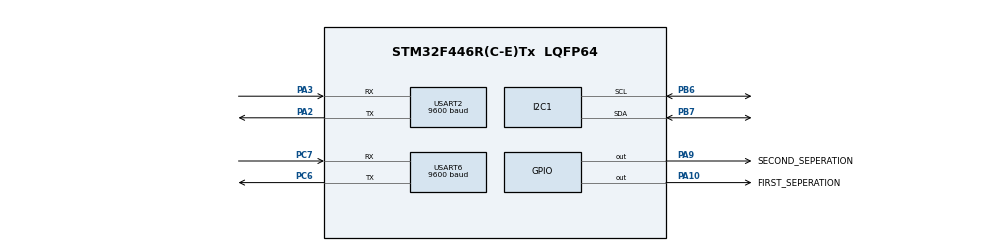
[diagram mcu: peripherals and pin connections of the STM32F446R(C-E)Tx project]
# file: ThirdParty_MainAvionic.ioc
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FREERTOS.BinarySemaphores01=BinSemSep,Dynamic,NULL
FREERTOS.Mutexes01=SimpleMutex,Dynamic,NULL
FREERTOS.Tasks01=defaultTask,-3,128,StartDefaultTask,Default,NULL,Dynamic,NULL,NULL;SeperationTask,1,128,StartSeperationTask,Default,NULL,Dynamic,NULL,NULL;SepSensorTask,0,128,StartSepSensorTask,Default,NULL,Dynamic,NULL,NULL;GPSTask,-1,128,StartGPSTask,Default,NULL,Dynamic,NULL,NULL;CommTask,-2,128,StartCommTask,Default,NULL,Dynamic,NULL,NULL
FREERTOS.configUSE_NEWLIB_REENTRANT=1
Mcu.Family=STM32F4
Mcu.Name=STM32F446R(C-E)Tx
Mcu.Package=LQFP64
NVIC.PriorityGroup=NVIC_PRIORITYGROUP_4
NVIC.TIM1_UP_TIM10_IRQn=true\:5\:0\:false\:false\:true\:true\:true\:true\:true
NVIC.TIM2_IRQn=true\:15\:0\:false\:false\:true\:false\:false\:true\:true
NVIC.TimeBase=TIM2_IRQn
NVIC.TimeBaseIP=TIM2
NVIC.USART6_IRQn=true\:5\:0\:false\:false\:true\:true\:true\:true\:true
PA10.GPIO_Label=FIRST_SEPERATION
PA10.Signal=GPIO_Output
PA13.Mode=Serial_Wire
PA13.Signal=SYS_JTMS-SWDIO
PA14.Mode=Serial_Wire
PA14.Signal=SYS_JTCK-SWCLK
PA2.Mode=Asynchronous
PA2.Signal=USART2_TX
PA3.Mode=Asynchronous
PA3.Signal=USART2_RX
PA9.GPIO_Label=SECOND_SEPERATION
PA9.Signal=GPIO_Output
PB6.Mode=I2C
PB6.Signal=I2C1_SCL
PB7.Mode=I2C
PB7.Signal=I2C1_SDA
PC6.Mode=Asynchronous
PC6.Signal=USART6_TX
PC7.Mode=Asynchronous
PC7.Signal=USART6_RX
ProjectManager.HeapSize=0x200
ProjectManager.StackSize=0x400
ProjectManager.TargetToolchain=STM32CubeIDE
RCC.CortexFreq_Value=16000000
RCC.USBFreq_Value=96000000
RCC.VCOOutputFreq_Value=192000000
TIM1.Period=100-1
TIM1.Prescaler=90-1
USART2.BaudRate=9600
USART2.VirtualMode=VM_ASYNC
USART6.BaudRate=9600
USART6.VirtualMode=VM_ASYNC
VP_FREERTOS_VS_CMSIS_V1.Mode=CMSIS_V1
VP_SYS_VS_tim2.Mode=TIM2
VP_TIM1_VS_ClockSourceINT.Mode=Internal
board=custom

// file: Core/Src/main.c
/* USER CODE BEGIN Header */
/**
 ******************************************************************************
 * @file           : main.c
 * @brief          : Main program body
 ******************************************************************************
 * @attention
 *
 * Copyright (c) 2024 STMicroelectronics.
 * All rights reserved.
 *
 * This software is licensed under terms that can be found in the LICENSE file
 * in the root directory of this software component.
 * If no LICENSE file comes with this software, it is provided AS-IS.
 *
 ******************************************************************************
 */
/* USER CODE END Header */
#include "main.h"
#include "cmsis_os.h"

/* USER CODE BEGIN Includes */
#include"lwgps/lwgps.h"
#include "bme280.h"
#include "mpu6050.h"
//#include "mpu6050.c"

#include <math.h>
/* USER CODE END Includes */

I2C_HandleTypeDef hi2c1;

TIM_HandleTypeDef htim1;

UART_HandleTypeDef huart2;
UART_HandleTypeDef huart6;

osThreadId defaultTaskHandle;
osThreadId SeperationTaskHandle;
osThreadId SepSensorTaskHandle;
osThreadId GPSTaskHandle;
osThreadId CommTaskHandle;
osMutexId SimpleMutexHandle;
osSemaphoreId BinSemSepHandle;

void SystemClock_Config(void);
static void MX_GPIO_Init(void);
static void MX_I2C1_Init(void);
static void MX_USART6_UART_Init(void);
static void MX_USART2_UART_Init(void);
static void MX_TIM1_Init(void);
void StartDefaultTask(void const *argument);
void StartSeperationTask(void const *argument);
void StartSepSensorTask(void const *argument);
void StartGPSTask(void const *argument);
void StartCommTask(void const *argument);

/* USER CODE BEGIN 0 */
#define BUFFER_SIZE 25
float sensorValues[BUFFER_SIZE];
float RollAng, Altitude1, Temperature, Pressure, Humidity;
float acX, acY, acZ, gyX, gyY, gyZ, Alt, T, P, H, AltCompare;
float gpsAlt, gpsLat, gpsLong;
unsigned char buff[54];
int flag = 1;
int flagDown = 0;
int sayac = 0;
int deneme;

lwgps_t gps;
uint8_t rx_buffer[128];
uint8_t rx_index = 0;
uint8_t rx_data = 0;

typedef union {
	float sayi;
	unsigned char array[4];
} float32toInt8;

void HAL_UART_RxCpltCallback(UART_HandleTypeDef *huart) {
	if (huart == &huart6) {
		if (rx_data != '\n' && rx_index < sizeof(rx_buffer)) {
			rx_buffer[rx_index++] = rx_data;
		} else {
			lwgps_process(&gps, rx_buffer, rx_index + 1);
			rx_index = 0;
			rx_data = 0;
		}
		HAL_UART_Receive_IT(&huart6, &rx_data, 1);
	}
}

//roketin aşağı gittiği anlayan verilerin doldurulduğu buffer'i sıfırlayan kod.
void initSensorBuffer() {
	for (int i = 0; i < BUFFER_SIZE; i++) {
		sensorValues[i] = 0.0f;
	}
}

//roketin aşağı indiğini anlayan kod (buffer'a veri atıp karşılaştırma yapıyor)
void processSensorValues() {
	for (int i = 0; i < BUFFER_SIZE; i += 4) {
		if (i + 24 < BUFFER_SIZE) {
			if (sensorValues[i] >= sensorValues[i + 24]) {
				flagDown = 1;
			} else {
				flagDown = 0;
			}
		}

		// Buffer'ı sıfırla
		if (i == BUFFER_SIZE - 4) {
			initSensorBuffer();
		}
	}
}

unsigned char cs() {
	int checkSum = 0;
	for (int i = 4; i < 51; i++) {
		checkSum += buff[i];
	}
	return (unsigned char) (checkSum % 256);
}

void paket(int sayac) {
	buff[0] = 0xFF; //sabit
	buff[1] = 0xFF; //sabit
	buff[2] = 0x54; //sabit
	buff[3] = 0x52; //sabit
	buff[4] = 0x01; //id = 1 kabul ettik
	buff[5] = sayac; //paket sayaci

	float32toInt8 alt_donusturme;
	alt_donusturme.sayi = Alt;
	buff[6] = alt_donusturme.array[0];
	buff[7] = alt_donusturme.array[1];
	buff[8] = alt_donusturme.array[2];
	buff[9] = alt_donusturme.array[3];

	float32toInt8 gpsAltDonusturme;
	gpsAltDonusturme.sayi = gpsAlt;
	buff[10] = gpsAltDonusturme.array[0];
	buff[11] = gpsAltDonusturme.array[1];
	buff[12] = gpsAltDonusturme.array[2];
	buff[13] = gpsAltDonusturme.array[3];

	float32toInt8 gpsLatDonusturme;
	gpsLatDonusturme.sayi = gpsLat;
	buff[14] = gpsLatDonusturme.array[0];
	buff[15] = gpsLatDonusturme.array[1];
	buff[16] = gpsLatDonusturme.array[2];
	buff[17] = gpsLatDonusturme.array[3];

	float32toInt8 gpsLongDonusturme;
	gpsLongDonusturme.sayi = gpsLong;
	buff[18] = gpsLongDonusturme.array[0];
	buff[19] = gpsLongDonusturme.array[1];
	buff[20] = gpsLongDonusturme.array[2];
	buff[21] = gpsLongDonusturme.array[3];

	float32toInt8 AccX;
	AccX.sayi = acX;
	buff[22] = AccX.array[0];
	buff[23] = AccX.array[1];
	buff[24] = AccX.array[2];
	buff[25] = AccX.array[3];

	float32toInt8 AccY;
	AccY.sayi = acY;
	buff[26] = AccY.array[0];
	buff[27] = AccY.array[1];
	buff[28] = AccY.array[2];
	buff[29] = AccY.array[3];

	float32toInt8 AccZ;
	AccZ.sayi = acZ;
	buff[30] = AccZ.array[0];
	buff[31] = AccZ.array[1];
	buff[32] = AccZ.array[2];
	buff[33] = AccZ.array[3];

	float32toInt8 GyroX;
	GyroX.sayi = gyX;
	buff[34] = GyroX.array[0];
	buff[35] = GyroX.array[1];
	buff[36] = GyroX.array[2];
	buff[37] = GyroX.array[3];

	float32toInt8 GyroY;
	GyroY.sayi = gyY;
	buff[38] = GyroY.array[0];
	buff[39] = GyroY.array[1];
	buff[40] = GyroY.array[2];
	buff[41] = GyroY.array[3];

	float32toInt8 GyroZ;
	GyroZ.sayi = gyZ;
	buff[42] = GyroZ.array[0];
	buff[43] = GyroZ.array[1];
	buff[44] = GyroZ.array[2];
	buff[45] = GyroZ.array[3];

	float32toInt8 Aci;
	Aci.sayi = RollAng;
	buff[46] = Aci.array[0];
	buff[47] = Aci.array[1];
	buff[48] = Aci.array[2];
	buff[49] = Aci.array[3];

	buff[50] = flag; //durum
	buff[51] = cs(); //check-sum
	buff[52] = 0x0D; //sabit
	buff[53] = 0x0A; //sabit
}

/* USER CODE END 0 */

int main(void) {

	/* MCU Configuration--------------------------------------------------------*/

	/* Reset of all peripherals, Initializes the Flash interface and the Systick. */
	HAL_Init();

	/* Configure the system clock */
	SystemClock_Config();

	/* Initialize all configured peripherals */
	MX_GPIO_Init();
	MX_I2C1_Init();
	MX_USART6_UART_Init();
	MX_USART2_UART_Init();
	MX_TIM1_Init();
	/* USER CODE BEGIN 2 */

	HAL_TIM_Base_Init(&htim1);
	MPU6050_Init();
	lwgps_init(&gps);
	HAL_UART_Receive_IT(&huart6, &rx_data, 1);
	BME280_Config(OSRS_2, OSRS_16, OSRS_1, MODE_NORMAL, T_SB_0p5, IIR_16);

	/* USER CODE END 2 */

	/* Create the mutex(es) */
	/* definition and creation of SimpleMutex */
	osMutexDef(SimpleMutex);
	SimpleMutexHandle = osMutexCreate(osMutex(SimpleMutex));

	/* Create the semaphores(s) */
	/* definition and creation of BinSemSep */
	osSemaphoreDef(BinSemSep);
	BinSemSepHandle = osSemaphoreCreate(osSemaphore(BinSemSep), 1);

	/* Create the thread(s) */
	/* definition and creation of defaultTask */
	osThreadDef(defaultTask, StartDefaultTask, osPriorityIdle, 0, 128);
	defaultTaskHandle = osThreadCreate(osThread(defaultTask), NULL);

	/* definition and creation of SeperationTask */
	osThreadDef(SeperationTask, StartSeperationTask, osPriorityAboveNormal, 0,
			128);
	SeperationTaskHandle = osThreadCreate(osThread(SeperationTask), NULL);

	/* definition and creation of SepSensorTask */
	osThreadDef(SepSensorTask, StartSepSensorTask, osPriorityNormal, 0, 128);
	SepSensorTaskHandle = osThreadCreate(osThread(SepSensorTask), NULL);

	/* definition and creation of GPSTask */
	osThreadDef(GPSTask, StartGPSTask, osPriorityBelowNormal, 0, 128);
	GPSTaskHandle = osThreadCreate(osThread(GPSTask), NULL);

	/* definition and creation of CommTask */
	osThreadDef(CommTask, StartCommTask, osPriorityLow, 0, 128);
	CommTaskHandle = osThreadCreate(osThread(CommTask), NULL);

	/* Start scheduler */
	osKernelStart();

	/* We should never get here as control is now taken by the scheduler */
	/* Infinite loop */
	while (1) {

	}
}

void SystemClock_Config(void) {
	RCC_OscInitTypeDef RCC_OscInitStruct = { 0 };
	RCC_ClkInitTypeDef RCC_ClkInitStruct = { 0 };

	/** Configure the main internal regulator output voltage
	 */
	__HAL_RCC_PWR_CLK_ENABLE();
	__HAL_PWR_VOLTAGESCALING_CONFIG(PWR_REGULATOR_VOLTAGE_SCALE3);

	/** Initializes the RCC Oscillators according to the specified parameters
	 * in the RCC_OscInitTypeDef structure.
	 */
	RCC_OscInitStruct.OscillatorType = RCC_OSCILLATORTYPE_HSI;
	RCC_OscInitStruct.HSIState = RCC_HSI_ON;
	RCC_OscInitStruct.HSICalibrationValue = RCC_HSICALIBRATION_DEFAULT;
	RCC_OscInitStruct.PLL.PLLState = RCC_PLL_NONE;
	if (HAL_RCC_OscConfig(&RCC_OscInitStruct) != HAL_OK) {
		Error_Handler();
	}

	/** Initializes the CPU, AHB and APB buses clocks
	 */
	RCC_ClkInitStruct.ClockType = RCC_CLOCKTYPE_HCLK | RCC_CLOCKTYPE_SYSCLK
			| RCC_CLOCKTYPE_PCLK1 | RCC_CLOCKTYPE_PCLK2;
	RCC_ClkInitStruct.SYSCLKSource = RCC_SYSCLKSOURCE_HSI;
	RCC_ClkInitStruct.AHBCLKDivider = RCC_SYSCLK_DIV1;
	RCC_ClkInitStruct.APB1CLKDivider = RCC_HCLK_DIV1;
	RCC_ClkInitStruct.APB2CLKDivider = RCC_HCLK_DIV1;

	if (HAL_RCC_ClockConfig(&RCC_ClkInitStruct, FLASH_LATENCY_0) != HAL_OK) {
		Error_Handler();
	}
}

static void MX_I2C1_Init(void) {

	hi2c1.Instance = I2C1;
	hi2c1.Init.ClockSpeed = 100000;
	hi2c1.Init.DutyCycle = I2C_DUTYCYCLE_2;
	hi2c1.Init.OwnAddress1 = 0;
	hi2c1.Init.AddressingMode = I2C_ADDRESSINGMODE_7BIT;
	hi2c1.Init.DualAddressMode = I2C_DUALADDRESS_DISABLE;
	hi2c1.Init.OwnAddress2 = 0;
	hi2c1.Init.GeneralCallMode = I2C_GENERALCALL_DISABLE;
	hi2c1.Init.NoStretchMode = I2C_NOSTRETCH_DISABLE;
	if (HAL_I2C_Init(&hi2c1) != HAL_OK) {
		Error_Handler();
	}

}

static void MX_TIM1_Init(void) {

	TIM_ClockConfigTypeDef sClockSourceConfig = { 0 };
	TIM_MasterConfigTypeDef sMasterConfig = { 0 };

	htim1.Instance = TIM1;
	htim1.Init.Prescaler = 90 - 1;
	htim1.Init.CounterMode = TIM_COUNTERMODE_UP;
	htim1.Init.Period = 100 - 1;
	htim1.Init.ClockDivision = TIM_CLOCKDIVISION_DIV1;
	htim1.Init.RepetitionCounter = 0;
	htim1.Init.AutoReloadPreload = TIM_AUTORELOAD_PRELOAD_DISABLE;
	if (HAL_TIM_Base_Init(&htim1) != HAL_OK) {
		Error_Handler();
	}
	sClockSourceConfig.ClockSource = TIM_CLOCKSOURCE_INTERNAL;
	if (HAL_TIM_ConfigClockSource(&htim1, &sClockSourceConfig) != HAL_OK) {
		Error_Handler();
	}
	sMasterConfig.MasterOutputTrigger = TIM_TRGO_RESET;
	sMasterConfig.MasterSlaveMode = TIM_MASTERSLAVEMODE_DISABLE;
	if (HAL_TIMEx_MasterConfigSynchronization(&htim1, &sMasterConfig)
			!= HAL_OK) {
		Error_Handler();
	}

}

static void MX_USART2_UART_Init(void) {

	huart2.Instance = USART2;
	huart2.Init.BaudRate = 9600;
	huart2.Init.WordLength = UART_WORDLENGTH_8B;
	huart2.Init.StopBits = UART_STOPBITS_1;
	huart2.Init.Parity = UART_PARITY_NONE;
	huart2.Init.Mode = UART_MODE_TX_RX;
	huart2.Init.HwFlowCtl = UART_HWCONTROL_NONE;
	huart2.Init.OverSampling = UART_OVERSAMPLING_16;
	if (HAL_UART_Init(&huart2) != HAL_OK) {
		Error_Handler();
	}

}

static void MX_USART6_UART_Init(void) {

	huart6.Instance = USART6;
	huart6.Init.BaudRate = 9600;
	huart6.Init.WordLength = UART_WORDLENGTH_8B;
	huart6.Init.StopBits = UART_STOPBITS_1;
	huart6.Init.Parity = UART_PARITY_NONE;
	huart6.Init.Mode = UART_MODE_TX_RX;
	huart6.Init.HwFlowCtl = UART_HWCONTROL_NONE;
	huart6.Init.OverSampling = UART_OVERSAMPLING_16;
	if (HAL_UART_Init(&huart6) != HAL_OK) {
		Error_Handler();
	}

}

static void MX_GPIO_Init(void) {
	GPIO_InitTypeDef GPIO_InitStruct = { 0 };

	/* GPIO Ports Clock Enable */
	__HAL_RCC_GPIOA_CLK_ENABLE();
	__HAL_RCC_GPIOC_CLK_ENABLE();
	__HAL_RCC_GPIOB_CLK_ENABLE();

	/*Configure GPIO pin Output Level */
	HAL_GPIO_WritePin(GPIOA, SECOND_SEPERATION_Pin | FIRST_SEPERATION_Pin,
			GPIO_PIN_RESET);

	/*Configure GPIO pins : SECOND_SEPERATION_Pin FIRST_SEPERATION_Pin */
	GPIO_InitStruct.Pin = SECOND_SEPERATION_Pin | FIRST_SEPERATION_Pin;
	GPIO_InitStruct.Mode = GPIO_MODE_OUTPUT_PP;
	GPIO_InitStruct.Pull = GPIO_NOPULL;
	GPIO_InitStruct.Speed = GPIO_SPEED_FREQ_LOW;
	HAL_GPIO_Init(GPIOA, &GPIO_InitStruct);

}

void StartDefaultTask(void const *argument) {
	/* USER CODE BEGIN 5 */
	/* Infinite loop */
	for (;;) {
		osDelay(500);
	}
	/* USER CODE END 5 */
}

void StartSeperationTask(void const *argument) {
	/* USER CODE BEGIN StartSeperationTask */
	/* Infinite loop */
	for (;;) {
		osSemaphoreWait(BinSemSepHandle, osWaitForever);
		if (flag == 1) {
			osSemaphoreRelease(BinSemSepHandle);
		} else {
			if ((RollAng <= 15 || RollAng >= -15) && Alt >= 2400) {
				HAL_GPIO_WritePin(GPIOA, GPIO_PIN_10, SET);
				flag = 2;
			}
			if ((Alt <= 600 && flag == 1) && flagDown == 1) {
				flag = 3;
			} else if (Alt <= 600 && flag == 2) {
				HAL_GPIO_WritePin(GPIOA, GPIO_PIN_9, SET);
				flag = 4;
			}
		}

		osDelay(500);
	}
	/* USER CODE END StartSeperationTask */
}

void StartSepSensorTask(void const *argument) {
	/* USER CODE BEGIN StartSepSensorTask */
	/* Infinite loop */
	for (;;) {

		xSemaphoreTake(SimpleMutexHandle, portMAX_DELAY);

		acX = MPU6050_Kalman_Accel_X();
		acY = MPU6050_Kalman_Accel_Y();
		acZ = MPU6050_Kalman_Accel_Z();
		gyX = MPU6050_Kalman_Gyro_X();
		gyY = MPU6050_Kalman_Gyro_X();
		gyZ = MPU6050_Kalman_Gyro_X();
		RollAng = MPU6050_Kalman_Roll_Angle();
		Temperature = BME280_Temperature();
		Pressure = BME280_Pressure();
		Humidity = BME280_Humidity();
		T = BME280_Kalman_Temp(Temperature);
		P = BME280_Kalman_Press(Pressure);
		H = BME280_Kalman_Hum(Humidity);
		Altitude1 = BME280_Altitude();
		Alt = BME280_Kalman_Alt(Altitude1);

		xSemaphoreGive(SimpleMutexHandle);

		osSemaphoreWait(BinSemSepHandle, osWaitForever);

		for (int i = 0; i < BUFFER_SIZE; i++) {
			AltCompare = BME280_Kalman_Alt(Altitude1);
			sensorValues[i] = AltCompare;
		}

		// Sensör değerlerini işle
		processSensorValues();

		osSemaphoreRelease(BinSemSepHandle);

		osDelay(500);
	}
	/* USER CODE END StartSepSensorTask */
}

void StartGPSTask(void const *argument) {
	/* USER CODE BEGIN StartGPSTask */
	/* Infinite loop */
	for (;;) {
		xSemaphoreTake(SimpleMutexHandle, portMAX_DELAY);
		gpsAlt = gps.altitude;
		gpsLat = gps.latitude;
		gpsLong = gps.longitude;
		xSemaphoreGive(SimpleMutexHandle);
		osDelay(500);
	}
	/* USER CODE END StartGPSTask */
}

void StartCommTask(void const *argument) {
	/* USER CODE BEGIN StartCommTask */
	/* Infinite loop */
	for (;;) {
		xSemaphoreTake(SimpleMutexHandle, portMAX_DELAY);
		paket(sayac);
		sayac = sayac + 1;
		HAL_UART_Transmit(&huart2, buff, 54, 500);
		xSemaphoreGive(SimpleMutexHandle);
		osDelay(500);
	}
	/* USER CODE END StartCommTask */
}

void HAL_TIM_PeriodElapsedCallback(TIM_HandleTypeDef *htim) {
	if (htim->Instance == TIM2) {
		HAL_IncTick();
	}
}

void Error_Handler(void) {
	__disable_irq();
	while (1) {
	}
}
